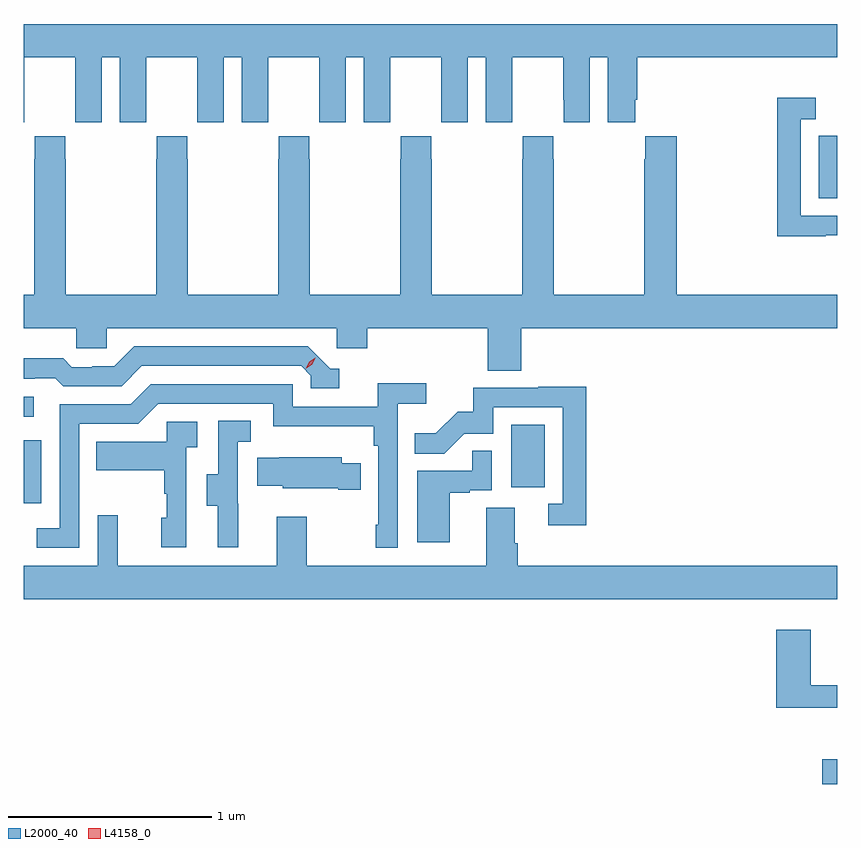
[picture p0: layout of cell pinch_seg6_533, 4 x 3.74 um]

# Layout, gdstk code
import gdstk
lib = gdstk.Library(unit=1e-6, precision=1e-09)
def R(c, l, rs):  # rectangles x0, y0, x1, y1
    for r in rs: c.add(gdstk.rectangle(r[:2], r[2:], *l))
def P(c, l, *ps):  # polygons
    for p in ps: c.add(gdstk.Polygon(p, *l))
L2000_40 = (2000, 40)
L4158_0 = (4158, 0)

pinch_seg6_533 = lib.new_cell('pinch_seg6_533')
R(pinch_seg6_533, L2000_40, [(843.99,917.123,844.064,917.245), (840.064,918.504,840.15,918.814), (842.462,918.582,842.626,918.889), (840.064,918.93,840.112,919.026), (843.974,920.004,844.064,920.311)])
P(pinch_seg6_533, L2000_40, [(840.064,920.376),(840.066,920.376),(840.066,920.488),(840.067,920.488),(840.067,920.696),(840.317,920.696),(840.317,920.488),(840.318,920.488),(840.318,920.376),(840.448,920.376),(840.448,920.696),(840.536,920.696),(840.536,920.376),(840.666,920.376),(840.666,920.488),(840.667,920.488),(840.667,920.696),(840.917,920.696),(840.917,920.488),(840.918,920.488),(840.918,920.376),(841.048,920.376),(841.048,920.696),(841.136,920.696),(841.136,920.376),(841.266,920.376),(841.266,920.488),(841.267,920.488),(841.267,920.696),(841.517,920.696),(841.517,920.488),(841.518,920.488),(841.518,920.376),(841.648,920.376),(841.648,920.696),(841.736,920.696),(841.736,920.376),(841.866,920.376),(841.866,920.488),(841.867,920.488),(841.867,920.696),(842.117,920.696),(842.117,920.488),(842.118,920.488),(842.118,920.376),(842.248,920.376),(842.248,920.696),(842.336,920.696),(842.336,920.376),(842.466,920.376),(842.466,920.488),(842.467,920.488),(842.467,920.696),(842.717,920.696),(842.717,920.488),(842.718,920.488),(842.718,920.376),(842.848,920.376),(842.848,920.696),(842.936,920.696),(842.936,920.376),(843.07,920.376),(843.07,920.488),(843.08,920.488),(843.08,920.696),(844.064,920.696),(844.064,920.86),(840.064,920.86)],
  [(844.007,919.821),(844.064,919.821),(844.064,919.917),(843.885,919.917),(843.885,920.391),(843.958,920.391),(843.958,920.497),(843.769,920.497),(843.769,919.816),(844.007,919.816)],
  [(841.917,920.308),(841.917,920.195),(841.915,920.195),(841.915,919.528),(841.47,919.528),(841.47,920.195),(841.467,920.195),(841.467,920.308),(841.317,920.308),(841.317,920.195),(841.315,920.195),(841.315,919.528),(840.87,919.528),(840.87,920.195),(840.867,920.195),(840.867,920.308),(840.717,920.308),(840.717,920.195),(840.715,920.195),(840.715,919.528),(840.27,919.528),(840.27,920.195),(840.267,920.195),(840.267,920.308),(840.117,920.308),(840.117,920.195),(840.115,920.195),(840.115,919.528),(840.064,919.528),(840.064,919.364),(840.321,919.364),(840.321,919.266),(840.471,919.266),(840.471,919.364),(841.602,919.364),(841.602,919.266),(841.754,919.266),(841.754,919.364),(842.345,919.364),(842.345,919.156),(842.51,919.156),(842.51,919.364),(844.064,919.364),(844.064,919.528),(843.275,919.528),(843.275,920.308),(843.121,920.308),(843.121,920.195),(843.115,920.195),(843.115,919.528),(842.67,919.528),(842.67,920.195),(842.667,920.195),(842.667,920.308),(842.517,920.308),(842.517,920.195),(842.515,920.195),(842.515,919.528),(842.07,919.528),(842.07,920.195),(842.067,920.195),(842.067,920.308)],
  [(841.615,919.164),(841.572,919.164),(841.461,919.275),(840.608,919.275),(840.509,919.176),(840.402,919.176),(840.402,919.173),(840.299,919.173),(840.257,919.216),(840.064,919.216),(840.064,919.116),(840.119,919.116),(840.119,919.119),(840.218,919.119),(840.257,919.08),(840.546,919.08),(840.645,919.179),(841.428,919.179),(841.476,919.131),(841.476,919.068),(841.615,919.068)],
  [(840.336,918.894),(840.627,918.894),(840.726,918.993),(841.29,918.993),(841.29,918.881),(841.786,918.881),(841.786,918.785),(841.806,918.785),(841.806,918.397),(841.794,918.397),(841.794,918.285),(841.902,918.285),(841.902,918.992),(842.044,918.992),(842.044,919.094),(841.805,919.094),(841.805,918.978),(841.386,918.978),(841.386,919.089),(840.689,919.089),(840.59,918.99),(840.24,918.99),(840.24,918.381),(840.127,918.381),(840.127,918.285),(840.336,918.285)],
  [(842.831,919.076),(842.593,919.076),(842.593,919.071),(842.275,919.071),(842.275,918.954),(842.198,918.954),(842.091,918.847),(841.987,918.847),(841.987,918.748),(842.131,918.748),(842.229,918.846),(842.373,918.846),(842.373,918.975),(842.715,918.975),(842.715,918.501),(842.643,918.501),(842.643,918.396),(842.831,918.396)],
  [(841.118,918.501),(841.116,918.501),(841.116,918.805),(841.18,918.805),(841.18,918.908),(841.02,918.908),(841.02,918.645),(840.965,918.645),(840.965,918.49),(841.019,918.49),(841.019,918.288),(841.118,918.288)],
  [(840.864,918.779),(840.916,918.779),(840.916,918.903),(840.768,918.903),(840.768,918.805),(840.421,918.805),(840.421,918.665),(840.756,918.665),(840.756,918.551),(840.766,918.551),(840.766,918.432),(840.74,918.432),(840.74,918.288),(840.864,918.288)],
  [(842.158,918.555),(842.258,918.555),(842.258,918.567),(842.364,918.567),(842.364,918.761),(842.269,918.761),(842.269,918.663),(842,918.663),(842,918.312),(842.158,918.312)],
  [(841.721,918.7),(841.627,918.7),(841.627,918.73),(841.321,918.73),(841.321,918.727),(841.213,918.727),(841.213,918.59),(841.338,918.59),(841.338,918.578),(841.61,918.578),(841.61,918.571),(841.721,918.571)],
  [(844.064,918.196),(842.492,918.196),(842.492,918.308),(842.479,918.308),(842.479,918.482),(842.339,918.482),(842.339,918.196),(841.455,918.196),(841.455,918.436),(841.307,918.436),(841.307,918.196),(840.527,918.196),(840.527,918.445),(840.429,918.445),(840.429,918.196),(840.064,918.196),(840.064,918.032),(844.064,918.032)],
  [(844.064,917.608),(843.934,917.608),(843.934,917.881),(843.764,917.881),(843.764,917.497),(844.064,917.497)])
P(pinch_seg6_533, L4158_0, [(841.451,919.166),(841.451,919.166),(841.467,919.199),(841.497,919.219),(841.497,919.219),(841.497,919.218),(841.482,919.186),(841.451,919.166)])

lib.write_gds('pinch_seg6_533.gds')
